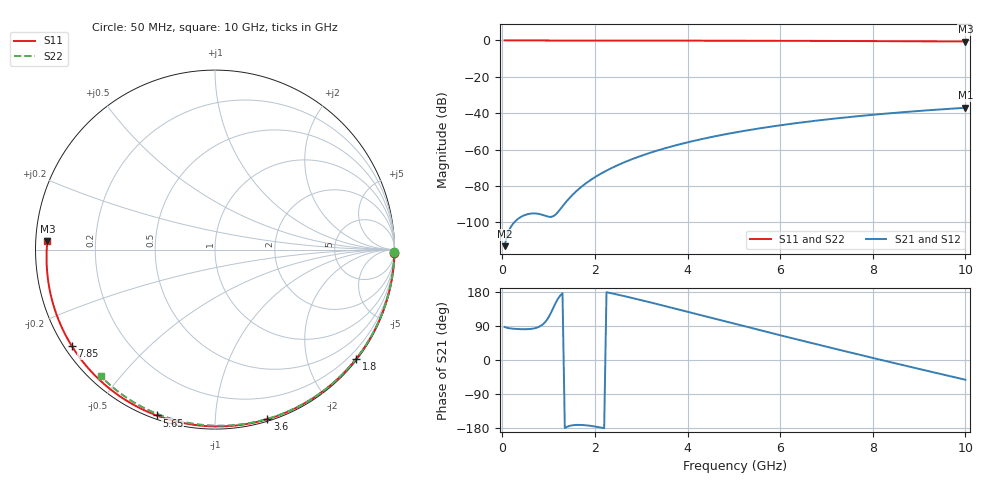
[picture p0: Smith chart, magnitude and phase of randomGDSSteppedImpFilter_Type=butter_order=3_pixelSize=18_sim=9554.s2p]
! freq	dB(S11)	phase(S11)	dB(S12)	phase(S12)
!  dB(S21)	phase(S21)	dB(S22)	phase(S22)
!S-par simulation data
#  GHz  S  DB  R 50
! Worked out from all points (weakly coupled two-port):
!   200 points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, 50 MHz to 10 GHz, reference 50 ohm
!   highest |S21| = -37.03 dB at 10 GHz (marker M1); lowest = -113.1 dB at 50 MHz (marker M2)
!   lowest |S11| = -0.6 dB at 10 GHz (marker M3), VSWR 29.87, Z = 1.68 + j1.23 ohm
!   |S11| at or under -10 dB: nowhere
!   |S22| runs from -0.4 to 0.0 dB; largest |S21 - S12| = 0
!   S11 on the Smith chart (normalised r, x): 50 MHz: open; 1.8 GHz: 0.03, -2.94; 3.6 GHz: 0.02, -1.36; 5.65 GHz: 0.02, -0.71; 7.85 GHz: 0.02, -0.30; 10 GHz: 0.03, +0.02
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0.05  -0.00 -1.1  -113.13 87.2  -113.13 87.2  -0.00 -0.8
0.45  -0.01 -9.6  -96.41 81.2  -96.41 81.2  -0.01 -6.9
0.85  -0.02 -18.0  -95.77 91.7  -95.77 91.7  -0.02 -12.9
1.25  -0.03 -26.3  -92.88 169.9  -92.88 169.9  -0.02 -18.9
1.7  -0.04 -35.6  -80.64 -171.3  -80.64 -171.3  -0.03 -25.6
1.75  -0.05 -36.6  -79.63 -171.7  -79.63 -171.7  -0.03 -26.3
1.8  -0.05 -37.6  -78.66 -172.2  -78.66 -172.2  -0.03 -27.1
2.1  -0.06 -43.7  -73.67 -177.6  -73.67 -177.6  -0.04 -31.5
2.5  -0.07 -51.6  -68.49 172.3  -68.49 172.3  -0.05 -37.3
2.9  -0.08 -59.5  -64.35 160.9  -64.35 160.9  -0.06 -43.1
3.4  -0.09 -69.0  -60.13 145.8  -60.13 145.8  -0.07 -50.1
3.6  -0.10 -72.8  -58.67 139.7  -58.67 139.7  -0.07 -52.9
4.3  -0.12 -85.7  -54.27 117.9  -54.27 117.9  -0.09 -62.6
5.05  -0.15 -99.0  -50.49 94.6  -50.49 94.6  -0.11 -72.6
5.65  -0.18 -109.4  -47.97 76.1  -47.97 76.1  -0.13 -80.3
6.15  -0.21 -117.9  -46.14 60.8  -46.14 60.8  -0.15 -86.7
6.7  -0.24 -127.1  -44.35 44.1  -44.35 44.1  -0.18 -93.5
7.3  -0.29 -137.0  -42.63 26.1  -42.63 26.1  -0.21 -100.8
7.85  -0.34 -146.1  -41.23 9.9  -41.23 9.9  -0.25 -107.3
8.35  -0.39 -154.4  -40.08 -4.8  -40.08 -4.8  -0.29 -113.2
9.2  -0.48 -168.8  -38.38 -29.3  -38.38 -29.3  -0.36 -123.0
10  -0.58 177.2  -37.03 -52.1  -37.03 -52.1  -0.45 -132.1
